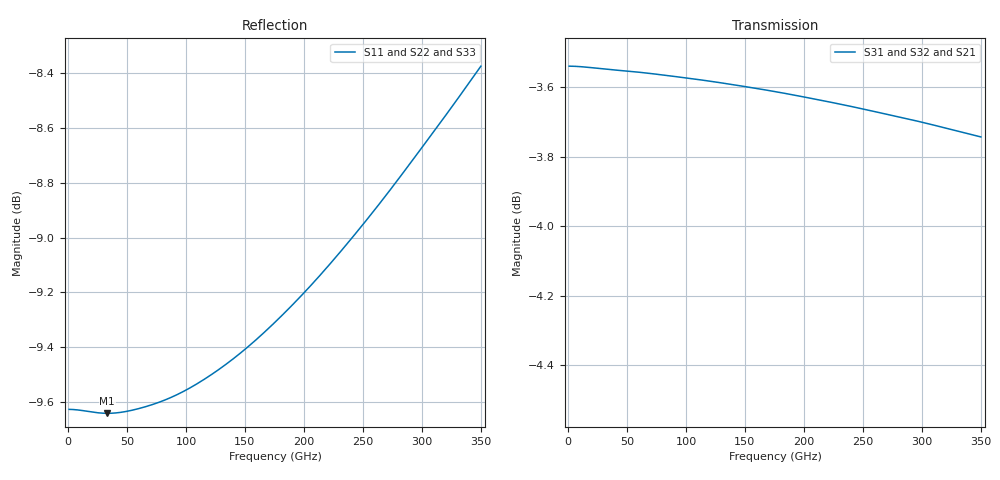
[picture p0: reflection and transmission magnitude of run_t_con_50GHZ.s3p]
#  Hz  S  RI  R  50
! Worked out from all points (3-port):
!   400 points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, 875 MHz to 350 GHz, reference 50 ohm
!   strongest paths, dB at 875 MHz, 88.38 GHz, 175.9 GHz, 263.4 GHz, 350 GHz:
!     S31: -3.5, -3.6, -3.6, -3.7, -3.7
!     S32: -3.5, -3.6, -3.6, -3.7, -3.7
!     S21: -3.5, -3.6, -3.7, -3.8, -3.9
!   lowest |S11| = -9.6 dB at 33.25 GHz (marker M1), VSWR 1.98, Z = 25.3 + j2.13 ohm
!   |S11| at or under -10 dB: nowhere
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8.75e8  -0.3301 0.00102  0.6647 -0.000868  0.6653 -0.000708
        0.6647 -0.000868  -0.3301 0.00102  0.6653 -0.000708
        0.6653 -0.000709  0.6653 -0.000709  -0.3307 0.000861
3.325e10  -0.3274 0.0376  0.6629 -0.0321  0.6641 -0.0263
          0.6629 -0.0321  -0.3274 0.0376  0.6641 -0.0263
          0.6641 -0.0263  0.6641 -0.0263  -0.3286 0.0318
6.825e10  -0.322 0.0751  0.6592 -0.0648  0.6617 -0.0532
          0.6592 -0.0648  -0.322 0.0752  0.6617 -0.0532
          0.6616 -0.0532  0.6616 -0.0532  -0.3245 0.0635
1.04125e11  -0.3136 0.1126  0.6533 -0.0976  0.6577 -0.0804
            0.6533 -0.0976  -0.3136 0.1127  0.6577 -0.0804
            0.6577 -0.0803  0.6577 -0.0804  -0.3181 0.0954
1.39125e11  -0.3028 0.1481  0.6456 -0.1289  0.6527 -0.1065
            0.6456 -0.1289  -0.3028 0.1482  0.6527 -0.1065
            0.6527 -0.1064  0.6527 -0.1065  -0.3101 0.1256
1.75875e11  -0.289 0.1838  0.6356 -0.1608  0.6462 -0.1334
            0.6357 -0.1608  -0.289 0.1839  0.6462 -0.1334
            0.6461 -0.1333  0.6461 -0.1334  -0.2997 0.1564
2.17875e11  -0.2701 0.2226  0.622 -0.1959  0.6372 -0.1634
            0.622 -0.1959  -0.2701 0.2228  0.6371 -0.1635
            0.6371 -0.1633  0.6371 -0.1634  -0.2856 0.1901
2.59875e11  -0.2484 0.2592  0.6062 -0.2295  0.6266 -0.1926
            0.6062 -0.2295  -0.2483 0.2594  0.6266 -0.1927
            0.6265 -0.1924  0.6265 -0.1925  -0.2692 0.2223
3.045e11  -0.2224 0.2952  0.5872 -0.2633  0.6139 -0.2227
          0.5872 -0.2634  -0.2223 0.2954  0.6138 -0.2227
          0.6137 -0.2225  0.6137 -0.2226  -0.2496 0.2546
3.5e11  -0.1933 0.3287  0.5658 -0.2957  0.5992 -0.2521
        0.5658 -0.2957  -0.1931 0.3289  0.5991 -0.2522
        0.5991 -0.2519  0.599 -0.252  -0.2273 0.2852
